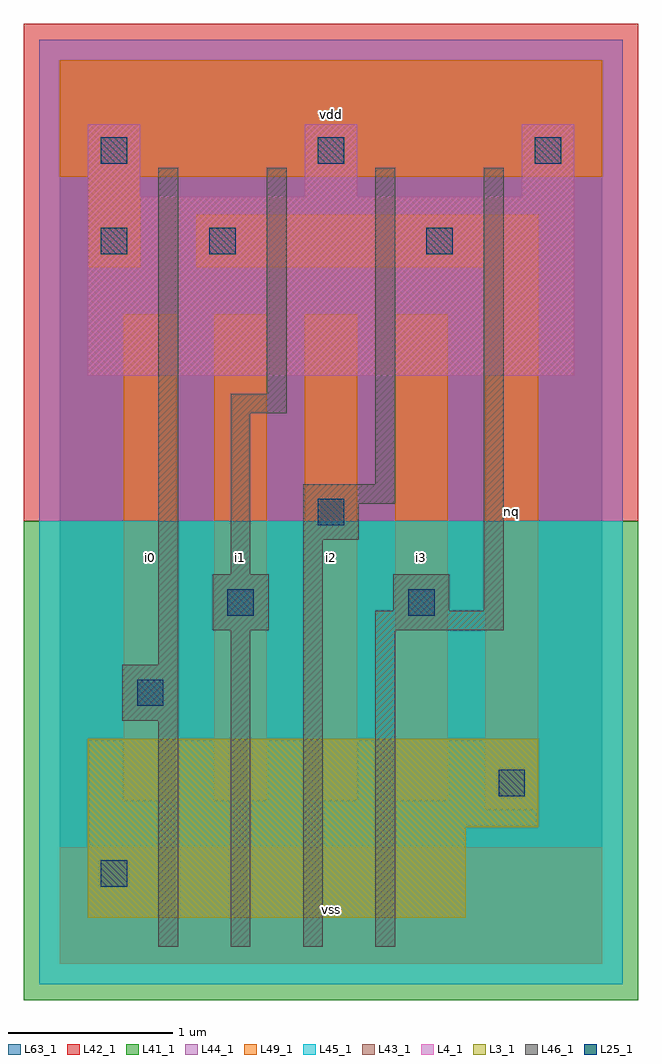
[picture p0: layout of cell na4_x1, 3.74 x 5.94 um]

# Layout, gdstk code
import gdstk
lib = gdstk.Library(unit=1e-6, precision=1e-09)
def R(c, l, rs):  # rectangles x0, y0, x1, y1
    for r in rs: c.add(gdstk.rectangle(r[:2], r[2:], *l))
def A(c, l, x, y, w, h, nx, ny, dx, dy):  # array of equal rectangles
    R(c, l, [(x+i*dx, y+j*dy, x+i*dx+w, y+j*dy+h) for i in range(nx) for j in range(ny)])
L3_1 = (3, 1)
L4_1 = (4, 1)
L25_1 = (25, 1)
L41_1 = (41, 1)
L42_1 = (42, 1)
L43_1 = (43, 1)
L44_1 = (44, 1)
L45_1 = (45, 1)
L46_1 = (46, 1)
L49_1 = (49, 1)
L63_1 = (63, 1)

na4_x1 = lib.new_cell('na4_x1')
R(na4_x1, L3_1, [(0.17,0.28,2.47,0.83), (0.17,0.83,2.91,1.37)])
A(na4_x1, L4_1, 0.17, 4.67, 0.32, 0.44, 3, 1, 1.32, 0)
R(na4_x1, L4_1, [(0.17,3.58,3.13,4.67)])
A(na4_x1, L25_1, 0.25, 4.87, 0.16, 0.16, 3, 1, 1.32, 0)
R(na4_x1, L25_1, [(0.25,0.47,0.41,0.63), (2.67,1.02,2.83,1.18), (0.47,1.57,0.63,1.73), (1.02,2.12,1.18,2.28), (2.12,2.12,2.28,2.28), (1.57,2.67,1.73,2.83), (0.25,4.32,0.41,4.48), (0.91,4.32,1.07,4.48), (2.23,4.32,2.39,4.48)])
R(na4_x1, L41_1, [(-0.22,-0.22,3.52,2.695)])
R(na4_x1, L42_1, [(-0.22,2.695,3.52,5.72)])
A(na4_x1, L43_1, 0.17, 4.67, 0.32, 0.44, 3, 1, 1.32, 0)
R(na4_x1, L43_1, [(0.17,0.28,2.47,0.83), (0.17,0.83,2.91,1.37), (0.17,3.58,3.13,4.67)])
R(na4_x1, L44_1, [(-0.125,2.695,3.425,5.625)])
R(na4_x1, L45_1, [(-0.125,-0.125,3.425,2.695)])
R(na4_x1, L46_1, [(0.6,0.105,0.72,1.48), (1.04,0.105,1.16,2.03), (1.48,0.105,1.6,2.58), (1.92,0.105,2.04,2.03), (0.38,1.48,0.72,1.82), (0.6,1.82,0.72,4.845), (0.93,2.03,1.27,2.37), (1.92,2.03,2.7,2.15), (2.03,2.15,2.37,2.37), (2.58,2.15,2.7,4.845), (1.04,2.37,1.16,3.35), (1.48,2.58,1.82,2.8), (1.48,2.8,2.04,2.92), (1.92,2.92,2.04,4.845), (1.04,3.35,1.38,3.47), (1.26,3.47,1.38,4.845)])
A(na4_x1, L49_1, 0.39, 0.995, 0.32, 2.96, 4, 1, 0.55, 0)
R(na4_x1, L49_1, [(0,0,3.3,0.71), (2.59,0.94,2.91,4.24), (0.17,4.24,0.49,4.79), (0.83,4.24,2.91,4.56), (0,4.79,3.3,5.5)])
R(na4_x1, L63_1, [(0,0,3.3,5.5)])
na4_x1.add(gdstk.Label('i0', (0.55,2.475), layer=49, texttype=1))
na4_x1.add(gdstk.Label('i0', (0.55,2.475), layer=49, texttype=1))
na4_x1.add(gdstk.Label('i1', (1.1,2.475), layer=49, texttype=1))
na4_x1.add(gdstk.Label('i1', (1.1,2.475), layer=49, texttype=1))
na4_x1.add(gdstk.Label('vss', (1.65,0.33), layer=49, texttype=1))
na4_x1.add(gdstk.Label('vss', (1.65,0.33), layer=49, texttype=1))
na4_x1.add(gdstk.Label('i2', (1.65,2.475), layer=49, texttype=1))
na4_x1.add(gdstk.Label('i2', (1.65,2.475), layer=49, texttype=1))
na4_x1.add(gdstk.Label('i3', (2.2,2.475), layer=49, texttype=1))
na4_x1.add(gdstk.Label('i3', (2.2,2.475), layer=49, texttype=1))
na4_x1.add(gdstk.Label('vdd', (1.65,5.17), layer=49, texttype=1))
na4_x1.add(gdstk.Label('vdd', (1.65,5.17), layer=49, texttype=1))
na4_x1.add(gdstk.Label('nq', (2.75,2.75), layer=49, texttype=1))
na4_x1.add(gdstk.Label('nq', (2.75,2.75), layer=49, texttype=1))

lib.write_gds('na4_x1.gds')
